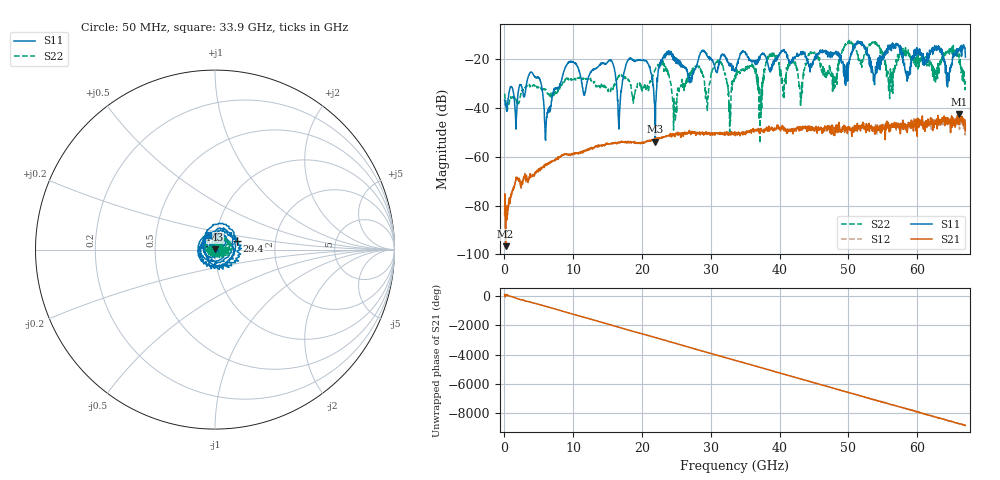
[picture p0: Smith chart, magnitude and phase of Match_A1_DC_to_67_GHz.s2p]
#  HZ  S  MA  R  50.00
! Rohde & Schwarz ZVA67 4Ports - Version 4.11 - 1305.7002k04 SN: 101051
! Date: 2023-05-31 14:00:24
! Measurements: S11 S21 S12 S22
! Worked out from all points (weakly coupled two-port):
!   1340 points, 50 MHz to 67 GHz, reference 50 ohm
!   highest |S21| = -42.42 dB at 66.05 GHz (marker M1); lowest = -96.7 dB at 200 MHz (marker M2)
!   lowest |S11| = -53.9 dB at 21.95 GHz (marker M3), VSWR 1.00, Z = 49.9 + j0.19 ohm
!   |S11| at or under -10 dB: start of sweep to end of sweep
!   |S22| runs from -54.5 to -12.3 dB; largest |S21 - S12| = 0.005
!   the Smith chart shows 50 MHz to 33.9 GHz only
!   S11 on the Smith chart (normalised r, x): 50 MHz: 0.97, +0.00; 29.4 GHz: 1.27, +0.12; 33.9 GHz: 0.91, +0.15
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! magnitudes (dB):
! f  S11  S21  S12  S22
! 50 MHz  -36.7  -83.8  -82.7  -34.1
! 200 MHz  -38.3  -96.7  -79.8  -36.6
! 11.25 GHz  -29.8  -57.9  -58.4  -27.7
! 15.45 GHz  -20.6  -54.6  -54.6  -33.2
! 16.7 GHz  -44.5  -54.0  -54.2  -26.5
! 17.95 GHz  -20.6  -54.1  -53.9  -28.3
! 20.4 GHz  -20.6  -54.3  -54.0  -30.5
! 21.95 GHz  -53.9  -52.8  -52.7  -24.3
! 22.4 GHz  -24.1  -52.3  -52.3  -22.4
! 24.75 GHz  -20.6  -50.9  -51.5  -42.6
! 27.9 GHz  -23.2  -50.1  -50.4  -22.9
! 29.4 GHz  -17.6  -49.9  -50.2  -35.3
! 33.55 GHz  -24.9  -49.9  -50.3  -26.5
! 33.9 GHz  -21.0  -51.0  -50.8  -25.4
! 39.05 GHz  -22.5  -49.0  -48.8  -17.5
! 43.1 GHz  -16.9  -49.0  -48.0  -35.0
! 44.7 GHz  -22.1  -49.1  -48.7  -17.4
! 47.95 GHz  -17.7  -50.6  -49.2  -26.5
! 53.8 GHz  -30.4  -50.0  -48.1  -13.3
! 55.85 GHz  -15.5  -48.4  -46.4  -33.0
! 66.05 GHz  -16.2  -42.4  -44.6  -18.1
! 67 GHz  -19.1  -49.2  -46.8  -28.9
